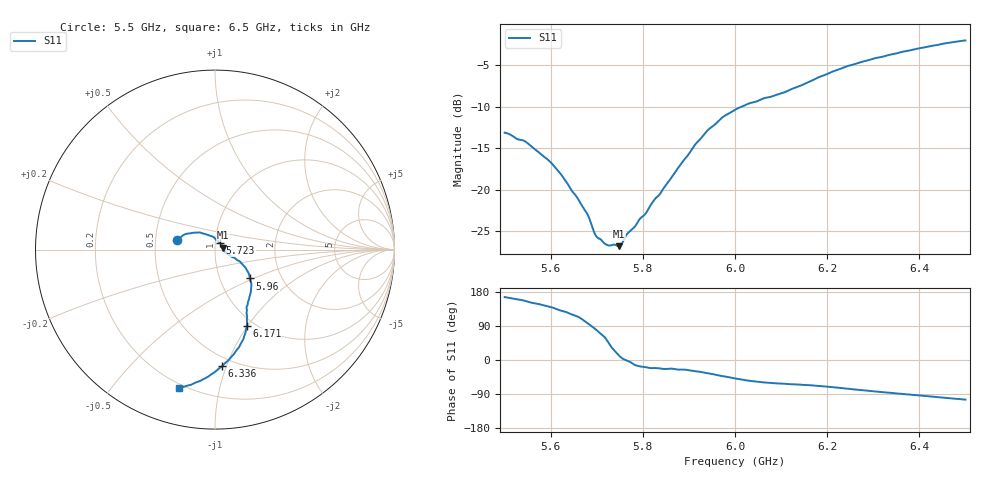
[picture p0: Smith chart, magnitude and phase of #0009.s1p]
#  HZ  S  DB  R  50.00
! Rohde & Schwarz ZVA24 4Ports - Version 3.60 - 1145.1110k28 SN: 101513
! Date: 2019-08-26 13:26:06
! Measurement: S33
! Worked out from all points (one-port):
!   801 points, 5.5 GHz to 6.5 GHz, reference 50 ohm
!   lowest |S11| = -26.8 dB at 5.747 GHz (marker M1), VSWR 1.10, Z = 54.6 + j1.1 ohm
!   |S11| at or under -10 dB: start of sweep to 6.014 GHz
!   S11 on the Smith chart (normalised r, x): 5.5 GHz: 0.64, +0.07; 5.723 GHz: 1.06, +0.08; 5.96 GHz: 1.39, -0.48; 6.171 GHz: 0.92, -0.99; 6.336 GHz: 0.43, -0.97; 6.5 GHz: 0.18, -0.76
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5.5e9  -13.14 166.1
5.54875e9  -14.35 154.5
5.5975e9  -16.57 140.7
5.625e9  -18.37 129.4
5.6775e9  -22.76 99.3
5.69875e9  -25.62 79.5
5.7225e9  -26.69 51.2
5.7475e9  -26.83 12.7
5.75e9  -26.78 9.7
5.76625e9  -25.33 -2.1
5.80625e9  -22.88 -19.0
5.8225e9  -21.43 -21.4
5.875e9  -17.51 -25.1
5.915e9  -14.47 -29.8
5.94125e9  -12.82 -35.1
5.96e9  -11.97 -39.7
5.975e9  -11.19 -42.8
6e9  -10.37 -48.7
6.02875e9  -9.64 -54.5
6.08125e9  -8.74 -61.2
6.125e9  -7.82 -64.0
6.17125e9  -6.73 -67.5
6.21625e9  -5.66 -72.2
6.25e9  -5.01 -76.4
6.33625e9  -3.72 -86.5
6.375e9  -3.26 -90.7
6.45375e9  -2.37 -99.5
6.5e9  -2.00 -104.6
